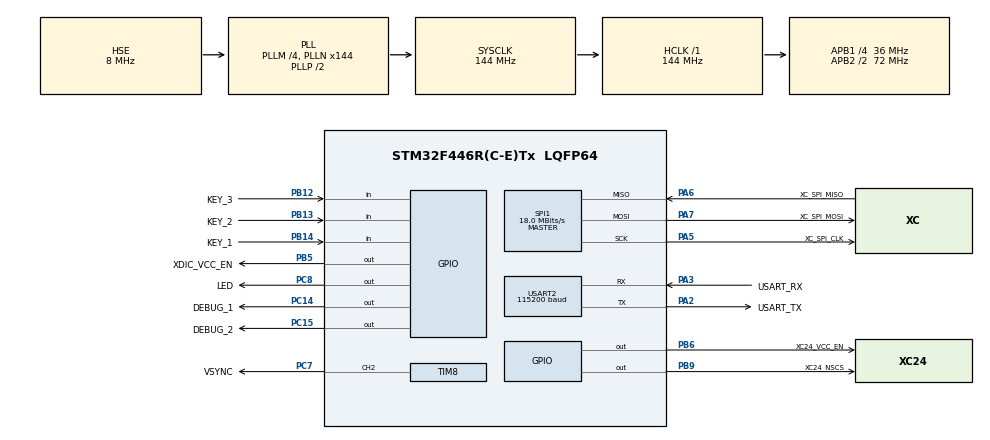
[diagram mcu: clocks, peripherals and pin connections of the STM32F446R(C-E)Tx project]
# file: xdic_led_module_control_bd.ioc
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Dma.Request0=USART2_TX
Dma.Request1=USART2_RX
Dma.USART2_RX.1.Direction=DMA_PERIPH_TO_MEMORY
Dma.USART2_RX.1.FIFOMode=DMA_FIFOMODE_DISABLE
Dma.USART2_RX.1.Instance=DMA1_Stream5
Dma.USART2_RX.1.MemDataAlignment=DMA_MDATAALIGN_BYTE
Dma.USART2_RX.1.MemInc=DMA_MINC_ENABLE
Dma.USART2_RX.1.Mode=DMA_NORMAL
Dma.USART2_RX.1.PeriphDataAlignment=DMA_PDATAALIGN_BYTE
Dma.USART2_RX.1.PeriphInc=DMA_PINC_DISABLE
Dma.USART2_RX.1.Priority=DMA_PRIORITY_LOW
Dma.USART2_TX.0.Direction=DMA_MEMORY_TO_PERIPH
Dma.USART2_TX.0.FIFOMode=DMA_FIFOMODE_DISABLE
Dma.USART2_TX.0.Instance=DMA1_Stream6
Dma.USART2_TX.0.MemDataAlignment=DMA_MDATAALIGN_BYTE
Dma.USART2_TX.0.MemInc=DMA_MINC_ENABLE
Dma.USART2_TX.0.Mode=DMA_NORMAL
Dma.USART2_TX.0.PeriphDataAlignment=DMA_PDATAALIGN_BYTE
Dma.USART2_TX.0.PeriphInc=DMA_PINC_DISABLE
Dma.USART2_TX.0.Priority=DMA_PRIORITY_LOW
Mcu.Family=STM32F4
Mcu.Name=STM32F446R(C-E)Tx
Mcu.Package=LQFP64
NVIC.DMA1_Stream5_IRQn=true\:0\:0\:false\:false\:true\:false\:true\:true
NVIC.DMA1_Stream6_IRQn=true\:0\:0\:false\:false\:true\:false\:true\:true
NVIC.PriorityGroup=NVIC_PRIORITYGROUP_4
NVIC.TIM8_UP_TIM13_IRQn=true\:0\:0\:false\:false\:true\:true\:true\:true
NVIC.USART2_IRQn=true\:1\:0\:true\:false\:true\:true\:true\:true
PA13.GPIO_Label=TMS
PA13.Mode=Serial_Wire
PA13.Signal=SYS_JTMS-SWDIO
PA14.GPIO_Label=TCK
PA14.Mode=Serial_Wire
PA14.Signal=SYS_JTCK-SWCLK
PA2.GPIO_Label=USART_TX
PA2.Mode=Asynchronous
PA2.Signal=USART2_TX
PA3.GPIO_Label=USART_RX
PA3.Mode=Asynchronous
PA3.Signal=USART2_RX
PA5.GPIO_Label=XC_SPI_CLK
PA5.Mode=Full_Duplex_Master
PA5.Signal=SPI1_SCK
PA6.GPIO_Label=XC_SPI_MISO
PA6.Mode=Full_Duplex_Master
PA6.Signal=SPI1_MISO
PA7.GPIO_Label=XC_SPI_MOSI
PA7.Mode=Full_Duplex_Master
PA7.Signal=SPI1_MOSI
PB12.GPIO_Label=KEY_3
PB12.Signal=GPIO_Input
PB13.GPIO_Label=KEY_2
PB13.Signal=GPIO_Input
PB14.GPIO_Label=KEY_1
PB14.Signal=GPIO_Input
PB5.GPIO_Label=XDIC_VCC_EN
PB5.GPIO_Speed=GPIO_SPEED_FREQ_VERY_HIGH
PB5.PinState=GPIO_PIN_SET
PB5.Signal=GPIO_Output
PB6.GPIO_Label=XC24_VCC_EN
PB6.Signal=GPIO_Output
PB9.GPIO_Label=XC24_NSCS
PB9.GPIO_Speed=GPIO_SPEED_FREQ_VERY_HIGH
PB9.Signal=GPIO_Output
PC14-OSC32_IN.GPIO_Label=DEBUG_1
PC14-OSC32_IN.Signal=GPIO_Output
PC15-OSC32_OUT.GPIO_Label=DEBUG_2
PC15-OSC32_OUT.Signal=GPIO_Output
PC7.GPIO_Label=VSYNC
PC7.Signal=S_TIM8_CH2
PC8.GPIO_Label=LED
PC8.PinState=GPIO_PIN_SET
PC8.Signal=GPIO_Output
PH0-OSC_IN.Mode=HSE-External-Oscillator
PH0-OSC_IN.Signal=RCC_OSC_IN
PH1-OSC_OUT.Mode=HSE-External-Oscillator
PH1-OSC_OUT.Signal=RCC_OSC_OUT
ProjectManager.HeapSize=0x200
ProjectManager.StackSize=0x800
ProjectManager.TargetToolchain=EWARM V8.32
RCC.48MHZClocksFreq_Value=84000000
RCC.AHBFreq_Value=144000000
RCC.APB1CLKDivider=RCC_HCLK_DIV4
RCC.APB1Freq_Value=36000000
RCC.APB1TimFreq_Value=72000000
RCC.APB2CLKDivider=RCC_HCLK_DIV2
RCC.APB2Freq_Value=72000000
RCC.APB2TimFreq_Value=144000000
RCC.CortexFreq_Value=144000000
RCC.FLatency-AdvancedSettings=FLASH_LATENCY_4
RCC.HCLKFreq_Value=144000000
RCC.HSE_VALUE=8000000
RCC.HSI_VALUE=16000000
RCC.PLLI2SM=8
RCC.PLLI2SN=400
RCC.PLLI2SR=5
RCC.PLLM=4
RCC.PLLN=144
RCC.PLLSourceVirtual=RCC_PLLSOURCE_HSE
RCC.RCC_MCO1Source=RCC_MCO1SOURCE_PLLCLK
RCC.RCC_MCO2Source=RCC_MCO2SOURCE_PLLI2SCLK
RCC.RCC_MCODiv2=RCC_MCODIV_5
RCC.SYSCLKFreq_VALUE=144000000
RCC.SYSCLKSource=RCC_SYSCLKSOURCE_PLLCLK
RCC.USBFreq_Value=144000000
RCC.VCOOutputFreq_Value=288000000
SH.S_TIM8_CH2.0=TIM8_CH2,PWM Generation2 CH2
SPI1.BaudRatePrescaler=SPI_BAUDRATEPRESCALER_4
SPI1.CLKPhase=SPI_PHASE_2EDGE
SPI1.CalculateBaudRate=18.0 MBits/s
SPI1.DataSize=SPI_DATASIZE_16BIT
SPI1.Direction=SPI_DIRECTION_2LINES
SPI1.Mode=SPI_MODE_MASTER
SPI1.VirtualType=VM_MASTER
TIM12.AutoReloadPreload=TIM_AUTORELOAD_PRELOAD_ENABLE
TIM12.ClockDivision=TIM_CLOCKDIVISION_DIV1
TIM12.Period=65535
TIM12.Prescaler=71
TIM8.AutomaticOutput=TIM_AUTOMATICOUTPUT_ENABLE
TIM8.Channel-PWM\ Generation2\ CH2=TIM_CHANNEL_2
TIM8.Period=39999
TIM8.Prescaler=29
TIM8.Pulse-PWM\ Generation2\ CH2=500
USART2.BaudRate=115200
USART2.VirtualMode=VM_ASYNC
VP_TIM12_VS_ClockSourceINT.Mode=Internal
VP_TIM8_VS_ClockSourceINT.Mode=Internal
board=NUCLEO-F446RE

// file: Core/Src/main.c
/* USER CODE BEGIN Header */
/**
  ******************************************************************************
  * @file           : main.c
  * @brief          : Main program body
  ******************************************************************************
  * @attention
  *
  * <h2><center>&copy; Copyright (c) 2021 STMicroelectronics.
  * All rights reserved.</center></h2>
  *
  * This software component is licensed by ST under Ultimate Liberty license
  * SLA0044, the "License"; You may not use this file except in compliance with
  * the License. You may obtain a copy of the License at:
  *                             www.st.com/SLA0044
  *
  ******************************************************************************
  */
#define __XDIC_MAIN_C__
#include <stdint.h>
/* USER CODE END Header */
#include "main.h"

/* USER CODE BEGIN Includes */
#include "config.h"
#include "xdic.h"
#include "xc24.h"
#include "vsync_task.h"
/* USER CODE END Includes */

/* USER CODE BEGIN PD */
/* "26. 06. 11 - Version Code Update : 0x01 */
/* "26. 07. 07 - Version Code Update : 0x02 @ XD_SINGLE */
/* "26. 07. 07 - Version Code Update : 0x03 @ XD_DUAL */
#define FW_VERSION_CODE     (3U)
#define XD_SINGLE           (1U)
#define XD_DUAL             (2U)

//#define XD_DEFAULT_SIZE     (XD_SINGLE)
#define XD_DEFAULT_SIZE     (XD_DUAL)

#define PRINT_BUFF_SIZE     256U
#define RX_BUFF_SIZE        256U // must be 2^n
#define RX_PACKET_SIZE      32U  // must be 2^n

#define RX_TIMEOUT_MS       20U

#define PACKET_SIZE                     6U   // SOP(1) + LEN(1) + CMD(1) + DATA(1) + CHK(1) + EOP(1)
#define PACKET_SIZE_EXCEPT_DATA_FIELD   5U   // SOP(1) + LEN(1) + CMD(1) + /* DATA(1) */ + CHK(1) + EOP(1)
#define PACKET_SIZE_SOP_TO_COMMAND      3U   // SOP(1) + LEN(1) + CMD(1)

#define INVALID_PACKET  0U
#define VALID_PACKET    1U

#define XC_CHECK_NG     0U
#define XC_CHECK_OK     1U

enum tag_PROTOCOL_LIST
{
    SOP                     = 0xA5U, // 0xA5
    EOP                     = 0x5AU, // 0x5A
    CMD_INIT                = 0x00U, // 0x00
    CMD_QUIT                = 0xFFU, // 0xFF
    CMD_STATUS              = 0xF0U, // 0xF0
    CMD_VERSION             = 0xF1U, // 0xF1
    CMD_BAR_ON_SELECT       = 0x10U, // 0x10
    CMD_BAR_OFF_SELECT      = 0x20U, // 0x20
    CMD_BLK_ON_SELECT       = 0x40U, // 0x40
    CMD_BLK_OFF_SELECT      = 0x80U, // 0x80
    CMD_CURRENT             = 0x01U, // 0x01
    CMD_LOW_CURRENT_MODE    = 0x02U, // 0x02
    CMD_DUTY                = 0x04U, // 0x04
    CMD_MODEL_SELECT        = 0x08U, // 0x08
    CMD_TEST_CH_DEPENDENCY  = 0xA0U, // 0xA0
    CMD_TEST_SCAN_NO        = 0xA1U, // 0xA1
    CMD_TEST_LINE_DELAY     = 0xA2U, // 0xA2
    CMD_XC_CHECK            = 0xFEU, // 0xFE, hidden
} protocol_list_t;

typedef enum tag_KEY_LIST
{
    KEY_1 = 0U,
    KEY_2,
    KEY_3,
    KEY_MAX,
} key_list_t;

/* USER CODE END PD */

/* USER CODE BEGIN PV */
typedef struct tag_RX_PACKET
{
    uint8_t sop;
    uint8_t length;
    uint8_t command;
    uint8_t data[255];
    uint8_t checksum;
    uint8_t eop;
} rx_packet_t;

typedef struct tag_RING_BUFFER
{
    uint8_t head;
    uint8_t tail;
    char buffer[RX_BUFF_SIZE];
} ring_buffer_t;
static ring_buffer_t gt_ring_buffer;

typedef struct tag_RX_PACKET_BUFFER
{
    uint8_t idx;
    rx_packet_t packet_buffer[RX_PACKET_SIZE];
} rx_packet_buffer_t;
static rx_packet_buffer_t gt_rx_packet_buffer;

typedef void (*func_t)(void);

typedef struct tag_KEY_INFO
{
    uint32_t now_state;
    uint32_t prev_state;
    uint8_t press_cnt;
    uint8_t odd_even;
    func_t function[2];
} key_info_t;

//static LOG_LV_T gt_log_lv = LOG_PC;
static LOG_LV_T gt_log_lv = LOG_RS232;

static uint8_t gn_uart_rx_timeout;
static bool gb_uart_rx_timeout_enable;

GPIO_TypeDef* key_gpio_port[KEY_MAX] = { KEY_1_GPIO_Port, KEY_2_GPIO_Port, KEY_3_GPIO_Port };
const uint32_t key_gpio_pin[KEY_MAX] = { KEY_1_Pin,       KEY_2_Pin,       KEY_3_Pin       };
static key_info_t gt_key_info[KEY_MAX];
static uint8_t gn_key_task_tick;
/* USER CODE END PV */

void SystemClock_Config(void);
static void MX_GPIO_Init(void);
static void MX_DMA_Init(void);
static void MX_USART2_UART_Init(void);
static void MX_TIM12_Init(void);
static void MX_SPI1_Init(void);
static void MX_TIM8_Init(void);
/* USER CODE BEGIN PFP */
static void Uart_Task(void);
static void Key_Task(void);
static void Key_Init(void);
/* USER CODE END PFP */

/* USER CODE BEGIN 0 */

void us_delay(uint16_t us_delay)
{
    LL_TIM_EnableCounter(TIM12);
    while(LL_TIM_GetCounter(TIM12) < us_delay)
    {
    }
    LL_TIM_DisableCounter(TIM12);
    LL_TIM_SetCounter(TIM12, 0U);
}

void sys_tick_handler(void)
{
    if (gn_xc_spi_timeout)
    {
        --gn_xc_spi_timeout;
    }
    if (gn_uart_rx_timeout)
    {
        --gn_uart_rx_timeout;
    }
    if (gn_key_task_tick)
    {
        --gn_key_task_tick;
    }
}

void print(LOG_LV_T log_lv, const char *fmt, ...)
{
    if (log_lv >= gt_log_lv)
    {
        int len = 0;
        char msg_buffer[PRINT_BUFF_SIZE] = { 0 };

        if (log_lv > gt_log_lv)
        {
            char temp_buffer[PRINT_BUFF_SIZE] = { 0 };
            snprintf(temp_buffer, PRINT_BUFF_SIZE - 1U, "%s%s%s", ANSI_FONT_RED, fmt, ANSI_FONT_NONE);
            fmt = temp_buffer;
        }

        va_list ap;
        va_start(ap, fmt);
        len = vsnprintf(msg_buffer, (PRINT_BUFF_SIZE - 1U), fmt, ap);
        va_end(ap);

        for (int i = 0 ; i < len ; ++i)
        {
            /* Loop until the end of transmission */
            while (RESET == LL_USART_IsActiveFlag_TXE(USART2));
            /* Echo received character on TX */
            LL_USART_TransmitData8(USART2, (uint8_t)msg_buffer[i]);
        }
    }
}

void Comm_Init(void)
{
    print(LOG_PC, "\n\r--------------------------------------");
    print(LOG_PC, "\n\r   [GT LED Module Control BD]");
    print(LOG_PC, "\n\r--------------------------------------");
    print(LOG_PC, "\n\r - Author: xxx@glbltech.com");
    print(LOG_PC, "\n\r - Build : %s", __DATE__);
    print(LOG_PC, "\n\r--------------------------------------\r\n");
}

__STATIC_INLINE void UART_PutChar(uint8_t data)
{
    /* Echo received character on TX */
    LL_USART_TransmitData8(USART2, (uint8_t)data);
    /* Loop until the end of transmission */
    while (RESET == LL_USART_IsActiveFlag_TXE(USART2));
}

uint8_t comm_rx_calc_checksum(uint8_t* p_data, uint8_t length)
{
    uint8_t checksum = 0U;
    for (uint8_t i = 0U ; i < length ; ++i)
    {
        checksum += *(p_data + i);
    }
    return checksum;
}

void comm_rx_push(uint8_t rx)
{
    gt_ring_buffer.buffer[gt_ring_buffer.head++] = rx;
    gt_ring_buffer.head &= (RX_BUFF_SIZE - 1U);
}

uint8_t comm_rx_pop(void)
{
    uint8_t ret = gt_ring_buffer.buffer[gt_ring_buffer.tail++];
    gt_ring_buffer.tail &= (RX_BUFF_SIZE - 1U);
    return ret;
}

bool comm_is_valid_command(uint8_t in_cmd)
{
    bool ret = false;
    switch (in_cmd)
    {
        case CMD_INIT:
        case CMD_QUIT:
        case CMD_STATUS:
        case CMD_VERSION:
        case CMD_CURRENT:
        case CMD_BAR_ON_SELECT:
        case CMD_BAR_OFF_SELECT:
        case CMD_BLK_ON_SELECT:
        case CMD_BLK_OFF_SELECT:
        case CMD_LOW_CURRENT_MODE:
        case CMD_DUTY:
        case CMD_MODEL_SELECT:
        case CMD_TEST_CH_DEPENDENCY:
        case CMD_TEST_SCAN_NO:
        case CMD_TEST_LINE_DELAY:
        case CMD_XC_CHECK:
            ret = true;
            break;
        default:
            ret = false;
            break;
    }
    return ret;
}

static uint8_t comm_get_rx_available(void)
{
    if (gt_ring_buffer.head > gt_ring_buffer.tail)
    {
        return gt_ring_buffer.head - gt_ring_buffer.tail;
    }
    else
    {
        return (gt_ring_buffer.head + RX_BUFF_SIZE) - gt_ring_buffer.tail;
    }
}

static void comm_tx_response_version(void)
{
    uint8_t response[PACKET_SIZE] = { SOP, 0x01U, CMD_VERSION, FW_VERSION_CODE, 0x00U, 0x5AU };
    response[4] = response[0] + response[1] + response[2] + response[3];

    for (uint8_t i = 0U ; i < PACKET_SIZE ; ++i)
    {
        UART_PutChar(response[i]);
    }
}

static void comm_tx_response(uint8_t status)
{
    uint8_t response_ok[PACKET_SIZE] = { SOP, 0x01U, CMD_STATUS, 0xA5U, 0x00U, 0x5AU };
    uint8_t response_ng[PACKET_SIZE] = { SOP, 0x01U, CMD_STATUS, 0x5AU, 0x00U, 0x5AU };

    response_ok[4] = response_ok[0] + response_ok[1] + response_ok[2] + response_ok[3];
    response_ng[4] = response_ng[0] + response_ng[1] + response_ng[2] + response_ng[3];

    if (status)
    {
        for (uint8_t i = 0U ; i < PACKET_SIZE ; ++i)
        {
            UART_PutChar(response_ok[i]);
        }
    }
    else
    {
        for (uint8_t i = 0U ; i < PACKET_SIZE ; ++i)
        {
            UART_PutChar(response_ng[i]);
        }
    }
}

static void comm_tx_xc_check(uint8_t status)
{
    uint8_t check_ok[PACKET_SIZE] = { SOP, 0x01U, CMD_XC_CHECK, 0xA5U, 0x00U, 0x5AU };
    uint8_t check_ng[PACKET_SIZE] = { SOP, 0x01U, CMD_XC_CHECK, 0x5AU, 0x00U, 0x5AU };

    check_ok[4] = check_ok[0] + check_ok[1] + check_ok[2] + check_ok[3];
    check_ng[4] = check_ng[0] + check_ng[1] + check_ng[2] + check_ng[3];

    if (status)
    {
        for (uint8_t i = 0U ; i < PACKET_SIZE ; ++i)
        {
            UART_PutChar(check_ok[i]);
        }
    }
    else
    {
        for (uint8_t i = 0U ; i < PACKET_SIZE ; ++i)
        {
            UART_PutChar(check_ng[i]);
        }
    }
}

static uint8_t comm_get_rx_packet(rx_packet_t* p_packet)
{
    uint8_t ret = INVALID_PACKET;
    rx_packet_t temp_packet = { 0 };

    if (gt_ring_buffer.head != gt_ring_buffer.tail)
    {
        if (gt_ring_buffer.buffer[gt_ring_buffer.tail] != SOP)
        {
            ++gt_ring_buffer.tail;
            gt_ring_buffer.tail &= (RX_BUFF_SIZE - 1U);
            ret = INVALID_PACKET;
        }
        else // If SOP
        {
            if (!gb_uart_rx_timeout_enable)
            {
                gn_uart_rx_timeout = RX_TIMEOUT_MS;
                gb_uart_rx_timeout_enable = true;
            }
            uint8_t length = gt_ring_buffer.buffer[(gt_ring_buffer.tail + 1U) & (RX_BUFF_SIZE - 1U)];
            if (length < 1U) length = 1U; // Minimum data field length

            if (comm_get_rx_available() >= (PACKET_SIZE_EXCEPT_DATA_FIELD + length))
            {
                temp_packet.sop = comm_rx_pop();
                temp_packet.length = comm_rx_pop();
                temp_packet.command = comm_rx_pop();
                for (uint8_t i = 0U ; i < length ; ++i)
                {
                    temp_packet.data[i] = comm_rx_pop();
                }
                temp_packet.checksum = comm_rx_pop();
                temp_packet.eop = comm_rx_pop();

                uint8_t checksum = comm_rx_calc_checksum(&temp_packet.sop, (PACKET_SIZE_SOP_TO_COMMAND + temp_packet.length));
                if ((checksum == temp_packet.checksum) && (temp_packet.eop == EOP) && comm_is_valid_command(temp_packet.command))
                {
                    p_packet->sop = temp_packet.sop;
                    p_packet->length = temp_packet.length;
                    p_packet->command = temp_packet.command;
                    for (uint8_t i = 0U ; i < length ; ++i)
                    {
                        p_packet->data[i] = temp_packet.data[i];
                    }
                    p_packet->checksum = temp_packet.checksum;
                    p_packet->eop = temp_packet.eop;

                    if (temp_packet.command == CMD_VERSION)
                    {
                        comm_tx_response_version();
                    }
                    else
                    {
                        comm_tx_response(VALID_PACKET);
                    }
                    print(LOG_PC, "Recv Packet: {[0x%02X, 0x%02X, 0x%02X, \
                        0x%02X, 0x%02X, 0x%02X, 0x%02X, 0x%02X, \
                        0x%02X, 0x%02X]}\r\n",
                        temp_packet.sop, temp_packet.length, temp_packet.command, \
                        temp_packet.data[0], temp_packet.data[1], temp_packet.data[2], temp_packet.data[3], temp_packet.data[4], \
                        temp_packet.checksum, temp_packet.eop);
                    ret = VALID_PACKET;
                }
                else
                {
                    comm_tx_response(INVALID_PACKET);
                    print(LOG_PC, "Recv Packet: {[0x%02X, 0x%02X, 0x%02X, \
                        0x%02X, 0x%02X, 0x%02X, 0x%02X, 0x%02X, \
                        0x%02X, 0x%02X]}\r\n",
                        temp_packet.sop, temp_packet.length, temp_packet.command, \
                        temp_packet.data[0], temp_packet.data[1], temp_packet.data[2], temp_packet.data[3], temp_packet.data[4], \
                        temp_packet.checksum, temp_packet.eop);
                }
                gb_uart_rx_timeout_enable = false;
            }

            if (0U == gn_uart_rx_timeout) // Timeout
            {
                comm_tx_response(INVALID_PACKET);
                gt_ring_buffer.tail = gt_ring_buffer.head;
                gb_uart_rx_timeout_enable = false;
                ret = INVALID_PACKET;
            }
        }
    }

    return ret;
}

static void Uart_Task(void)
{
    rx_packet_t* p_packet = gt_rx_packet_buffer.packet_buffer + gt_rx_packet_buffer.idx;

    if (comm_get_rx_packet(p_packet))
    {
        switch(p_packet->command)
        {
            case CMD_INIT:
            {
                LED_System_Init();
                print(LOG_PC, "CMD_INIT\r\n");
                break;
            }
            case CMD_QUIT:
            {
                LED_System_DeInit();
                print(LOG_PC, "CMD_QUIT\r\n");
                break;
            }
            case CMD_STATUS:
            {
                print(LOG_PC, "CMD_STATUS\r\n");
                break;
            }
            case CMD_VERSION:
            {
                print(LOG_PC, "CMD_VERSION\r\n");
                break;
            }
            case CMD_CURRENT:
            {
                LED_Current_Select((float)(p_packet->data[0]));
                print(LOG_PC, "CMD_CURRENT: %d\r\n", p_packet->data[0]);
                break;
            }
            case CMD_BAR_ON_SELECT:
            {
                for (uint8_t i = 0U ; i < p_packet->length ; ++i)
                {
                    LED_BAR_On_Select(p_packet->data[i]);
                }
                print(LOG_PC, "CMD_BAR_ON_SELECT: %u\r\n", p_packet->data[0]);
                break;
            }
            case CMD_BAR_OFF_SELECT:
            {
                for (uint8_t i = 0U ; i < p_packet->length ; ++i)
                {
                    LED_BAR_Off_Select(p_packet->data[i]);
                }
                print(LOG_PC, "CMD_BAR_OFF_SELECT: %u\r\n", p_packet->data[0]);
                break;
            }
            case CMD_BLK_ON_SELECT:
            {
                for (uint8_t i = 0U ; i < p_packet->length ; ++i)
                {
                    LED_BLK_On_Select(p_packet->data[i]);
                }
                print(LOG_PC, "CMD_BLK_ON_SELECT: %u\r\n", p_packet->data[0]);
                break;
            }
            case CMD_BLK_OFF_SELECT:
            {
                for (uint8_t i = 0U ; i < p_packet->length ; ++i)
                {
                    LED_BLK_Off_Select(p_packet->data[i]);
                }
                print(LOG_PC, "CMD_BLK_OFF_SELECT: %u\r\n", p_packet->data[0]);
                break;
            }
            case CMD_LOW_CURRENT_MODE:
            {
                LED_Low_Current_Mode(p_packet->data[0]);
                print(LOG_PC, "CMD_LOW_CURRENT_MODE: %u\r\n", p_packet->data[0]);
                break;
            }
            case CMD_DUTY:
            {
                LED_Duty_Select((float)p_packet->data[0]);
                print(LOG_PC, "CMD_DUTY: %u\r\n", p_packet->data[0]);
                break;
            }
            case CMD_MODEL_SELECT:
            {
                XDIC_Set_Daisy_Chain_Size(p_packet->data[0]);
                print(LOG_PC, "CMD_MODEL_SELECT: %u\r\n", p_packet->data[0]);
                break;
            }
            case CMD_TEST_CH_DEPENDENCY:
            {
                XDIC_Test_CH_Dependency();
                print(LOG_PC, "CMD_TEST_CH_DEPENDENCY\r\n");
                break;
            }
            case CMD_TEST_SCAN_NO:
            {
                LED_System_Init();
                LED_BAR_On_Select(0U);
                LED_Enable_Scan_No_Test(p_packet->data[0]);
                print(LOG_PC, "CMD_TEST_SCAN_NO.\r\n");
                break;
            }
            case CMD_TEST_LINE_DELAY:
            {
                LED_System_Init();
                LED_BAR_On_Select(0U);
                LED_Enable_Line_Delay_Test(p_packet->data[0]);
                print(LOG_PC, "CMD_TEST_LINE_DELAY\r\n");
                break;
            }
            case CMD_XC_CHECK:
            {
                bool xc_init_done = XC24_Is_Init_Done();
                comm_tx_xc_check(xc_init_done);
                print(LOG_PC, "CMD_XC_CHECK\r\n");
                break;
            }

        }
        ++gt_rx_packet_buffer.idx;
        gt_rx_packet_buffer.idx &= (RX_PACKET_SIZE - 1U);
    }
}

static void Key_Init(void)
{
    for (key_list_t key_list = KEY_1 ; key_list < KEY_MAX ; ++key_list)
    {
        gt_key_info[key_list].now_state = LL_GPIO_IsInputPinSet(key_gpio_port[key_list], key_gpio_pin[key_list]);
        gt_key_info[key_list].prev_state = gt_key_info[key_list].now_state;
        gt_key_info[key_list].press_cnt = 0U;
        gt_key_info[key_list].odd_even = 0U;
    }

    gt_key_info[KEY_1].function[0] = LED_System_Manual_Init;
    gt_key_info[KEY_1].function[1] = LED_System_DeInit;

    gt_key_info[KEY_2].function[0] = XC24_Test_Init;
    gt_key_info[KEY_2].function[1] = LED_System_DeInit;

    gt_key_info[KEY_3].function[0] = LED_Current_Increase;
    gt_key_info[KEY_3].function[1] = LED_Current_Increase;
}

static void Key_Task(void)
{
    if (gn_key_task_tick == 0U)
    {
        for (key_list_t key_list = KEY_1 ; key_list < KEY_MAX ; ++key_list)
        {
            gt_key_info[key_list].now_state = LL_GPIO_IsInputPinSet(key_gpio_port[key_list], key_gpio_pin[key_list]);

            if (gt_key_info[key_list].now_state != gt_key_info[key_list].prev_state)
            {
                if (gt_key_info[key_list].now_state == 0U)
                {
                    print(LOG_PC, "KEY_%u Pressed !!\r\n", key_list + 1U);
                }
                else
                {
                    print(LOG_PC, "KEY_%u Released !!\r\n", key_list + 1U);
                    if (gt_key_info[key_list].press_cnt >= 10U) // 100ms at least
                    {
                        print(LOG_PC, "KEY_%u Action !!\r\n", key_list + 1U);
                        if (gt_key_info[key_list].function[gt_key_info[key_list].odd_even] != NULL)
                        {
                            gt_key_info[key_list].function[gt_key_info[key_list].odd_even]();
                        }
                        gt_key_info[key_list].odd_even ^= 1U;
                    }
                    gt_key_info[key_list].press_cnt = 0U;
                }
                gt_key_info[key_list].prev_state = gt_key_info[key_list].now_state;
            }
            else
            {
                if (gt_key_info[key_list].now_state == 0U)
                {
                    ++gt_key_info[key_list].press_cnt;
                }
                else
                {
                    // Do nothing
                }
            }
        }
        gn_key_task_tick = 10U; // 10ms
    }
}
/* USER CODE END 0 */

int main(void)
{

  /* MCU Configuration--------------------------------------------------------*/

  /* Reset of all peripherals, Initializes the Flash interface and the Systick. */
  HAL_Init();

  /* Configure the system clock */
  SystemClock_Config();

  /* Initialize all configured peripherals */
  MX_GPIO_Init();
  MX_DMA_Init();
  MX_USART2_UART_Init();
  MX_TIM12_Init();
  MX_SPI1_Init();
  MX_TIM8_Init();
  /* USER CODE BEGIN 2 */

    Key_Init();
    Comm_Init();
    for (uint8_t i = 0U ; i < 3U ; ++i)
    {
        LED_LO();
        LL_mDelay(250U);
        LED_HI();
        LL_mDelay(250U);
    }
    LED_LO();

    XDIC_Set_Daisy_Chain_Size(XD_DEFAULT_SIZE);

  /* USER CODE END 2 */

  /* Infinite loop */
  while (1)
  {

    /* USER CODE BEGIN 3 */
    Uart_Task();
    Key_Task();
    Vsync_Task();
  }
  /* USER CODE END 3 */
}

void SystemClock_Config(void)
{
  RCC_OscInitTypeDef RCC_OscInitStruct = {0};
  RCC_ClkInitTypeDef RCC_ClkInitStruct = {0};

  /** Configure the main internal regulator output voltage
  */
  __HAL_RCC_PWR_CLK_ENABLE();
  __HAL_PWR_VOLTAGESCALING_CONFIG(PWR_REGULATOR_VOLTAGE_SCALE1);

  /** Initializes the RCC Oscillators according to the specified parameters
  * in the RCC_OscInitTypeDef structure.
  */
  RCC_OscInitStruct.OscillatorType = RCC_OSCILLATORTYPE_HSE;
  RCC_OscInitStruct.HSEState = RCC_HSE_ON;
  RCC_OscInitStruct.PLL.PLLState = RCC_PLL_ON;
  RCC_OscInitStruct.PLL.PLLSource = RCC_PLLSOURCE_HSE;
  RCC_OscInitStruct.PLL.PLLM = 4;
  RCC_OscInitStruct.PLL.PLLN = 144;
  RCC_OscInitStruct.PLL.PLLP = RCC_PLLP_DIV2;
  RCC_OscInitStruct.PLL.PLLQ = 2;
  RCC_OscInitStruct.PLL.PLLR = 2;
  if (HAL_RCC_OscConfig(&RCC_OscInitStruct) != HAL_OK)
  {
    Error_Handler();
  }

  /** Initializes the CPU, AHB and APB buses clocks
  */
  RCC_ClkInitStruct.ClockType = RCC_CLOCKTYPE_HCLK|RCC_CLOCKTYPE_SYSCLK
                              |RCC_CLOCKTYPE_PCLK1|RCC_CLOCKTYPE_PCLK2;
  RCC_ClkInitStruct.SYSCLKSource = RCC_SYSCLKSOURCE_PLLCLK;
  RCC_ClkInitStruct.AHBCLKDivider = RCC_SYSCLK_DIV1;
  RCC_ClkInitStruct.APB1CLKDivider = RCC_HCLK_DIV4;
  RCC_ClkInitStruct.APB2CLKDivider = RCC_HCLK_DIV2;

  if (HAL_RCC_ClockConfig(&RCC_ClkInitStruct, FLASH_LATENCY_4) != HAL_OK)
  {
    Error_Handler();
  }
}

static void MX_SPI1_Init(void)
{

  LL_SPI_InitTypeDef SPI_InitStruct = {0};

  LL_GPIO_InitTypeDef GPIO_InitStruct = {0};

  /* Peripheral clock enable */
  LL_APB2_GRP1_EnableClock(LL_APB2_GRP1_PERIPH_SPI1);

  LL_AHB1_GRP1_EnableClock(LL_AHB1_GRP1_PERIPH_GPIOA);
  /**SPI1 GPIO Configuration
  PA5   ------> SPI1_SCK
  PA6   ------> SPI1_MISO
  PA7   ------> SPI1_MOSI
  */
  GPIO_InitStruct.Pin = XC_SPI_CLK_Pin|XC_SPI_MISO_Pin|XC_SPI_MOSI_Pin;
  GPIO_InitStruct.Mode = LL_GPIO_MODE_ALTERNATE;
  GPIO_InitStruct.Speed = LL_GPIO_SPEED_FREQ_VERY_HIGH;
  GPIO_InitStruct.OutputType = LL_GPIO_OUTPUT_PUSHPULL;
  GPIO_InitStruct.Pull = LL_GPIO_PULL_NO;
  GPIO_InitStruct.Alternate = LL_GPIO_AF_5;
  LL_GPIO_Init(GPIOA, &GPIO_InitStruct);

  /* SPI1 parameter configuration*/
  SPI_InitStruct.TransferDirection = LL_SPI_FULL_DUPLEX;
  SPI_InitStruct.Mode = LL_SPI_MODE_MASTER;
  SPI_InitStruct.DataWidth = LL_SPI_DATAWIDTH_16BIT;
  SPI_InitStruct.ClockPolarity = LL_SPI_POLARITY_LOW;
  SPI_InitStruct.ClockPhase = LL_SPI_PHASE_2EDGE;
  SPI_InitStruct.NSS = LL_SPI_NSS_SOFT;
  SPI_InitStruct.BaudRate = LL_SPI_BAUDRATEPRESCALER_DIV4;
  SPI_InitStruct.BitOrder = LL_SPI_MSB_FIRST;
  SPI_InitStruct.CRCCalculation = LL_SPI_CRCCALCULATION_DISABLE;
  SPI_InitStruct.CRCPoly = 10;
  LL_SPI_Init(SPI1, &SPI_InitStruct);
  LL_SPI_SetStandard(SPI1, LL_SPI_PROTOCOL_MOTOROLA);
  /* USER CODE BEGIN SPI1_Init 2 */

    //LL_SPI_Enable(SPI1);

  /* USER CODE END SPI1_Init 2 */

}

static void MX_TIM8_Init(void)
{

  LL_TIM_InitTypeDef TIM_InitStruct = {0};
  LL_TIM_OC_InitTypeDef TIM_OC_InitStruct = {0};
  LL_TIM_BDTR_InitTypeDef TIM_BDTRInitStruct = {0};

  LL_GPIO_InitTypeDef GPIO_InitStruct = {0};

  /* Peripheral clock enable */
  LL_APB2_GRP1_EnableClock(LL_APB2_GRP1_PERIPH_TIM8);

  /* TIM8 interrupt Init */
  NVIC_SetPriority(TIM8_UP_TIM13_IRQn, NVIC_EncodePriority(NVIC_GetPriorityGrouping(),0, 0));
  NVIC_EnableIRQ(TIM8_UP_TIM13_IRQn);

  TIM_InitStruct.Prescaler = 29;
  TIM_InitStruct.CounterMode = LL_TIM_COUNTERMODE_UP;
  TIM_InitStruct.Autoreload = 39999;
  TIM_InitStruct.ClockDivision = LL_TIM_CLOCKDIVISION_DIV1;
  TIM_InitStruct.RepetitionCounter = 0;
  LL_TIM_Init(TIM8, &TIM_InitStruct);
  LL_TIM_DisableARRPreload(TIM8);
  LL_TIM_SetClockSource(TIM8, LL_TIM_CLOCKSOURCE_INTERNAL);
  LL_TIM_OC_EnablePreload(TIM8, LL_TIM_CHANNEL_CH2);
  TIM_OC_InitStruct.OCMode = LL_TIM_OCMODE_PWM1;
  TIM_OC_InitStruct.OCState = LL_TIM_OCSTATE_DISABLE;
  TIM_OC_InitStruct.OCNState = LL_TIM_OCSTATE_DISABLE;
  TIM_OC_InitStruct.CompareValue = 500;
  TIM_OC_InitStruct.OCPolarity = LL_TIM_OCPOLARITY_HIGH;
  TIM_OC_InitStruct.OCNPolarity = LL_TIM_OCPOLARITY_HIGH;
  TIM_OC_InitStruct.OCIdleState = LL_TIM_OCIDLESTATE_LOW;
  TIM_OC_InitStruct.OCNIdleState = LL_TIM_OCIDLESTATE_LOW;
  LL_TIM_OC_Init(TIM8, LL_TIM_CHANNEL_CH2, &TIM_OC_InitStruct);
  LL_TIM_OC_DisableFast(TIM8, LL_TIM_CHANNEL_CH2);
  LL_TIM_SetTriggerOutput(TIM8, LL_TIM_TRGO_RESET);
  LL_TIM_DisableMasterSlaveMode(TIM8);
  TIM_BDTRInitStruct.OSSRState = LL_TIM_OSSR_DISABLE;
  TIM_BDTRInitStruct.OSSIState = LL_TIM_OSSI_DISABLE;
  TIM_BDTRInitStruct.LockLevel = LL_TIM_LOCKLEVEL_OFF;
  TIM_BDTRInitStruct.DeadTime = 0;
  TIM_BDTRInitStruct.BreakState = LL_TIM_BREAK_DISABLE;
  TIM_BDTRInitStruct.BreakPolarity = LL_TIM_BREAK_POLARITY_HIGH;
  TIM_BDTRInitStruct.AutomaticOutput = LL_TIM_AUTOMATICOUTPUT_ENABLE;
  LL_TIM_BDTR_Init(TIM8, &TIM_BDTRInitStruct);
  LL_AHB1_GRP1_EnableClock(LL_AHB1_GRP1_PERIPH_GPIOC);
  /**TIM8 GPIO Configuration
  PC7   ------> TIM8_CH2
  */
  GPIO_InitStruct.Pin = VSYNC_Pin;
  GPIO_InitStruct.Mode = LL_GPIO_MODE_ALTERNATE;
  GPIO_InitStruct.Speed = LL_GPIO_SPEED_FREQ_LOW;
  GPIO_InitStruct.OutputType = LL_GPIO_OUTPUT_PUSHPULL;
  GPIO_InitStruct.Pull = LL_GPIO_PULL_NO;
  GPIO_InitStruct.Alternate = LL_GPIO_AF_3;
  LL_GPIO_Init(VSYNC_GPIO_Port, &GPIO_InitStruct);

}

static void MX_TIM12_Init(void)
{

  LL_TIM_InitTypeDef TIM_InitStruct = {0};

  /* Peripheral clock enable */
  LL_APB1_GRP1_EnableClock(LL_APB1_GRP1_PERIPH_TIM12);

  TIM_InitStruct.Prescaler = 71;
  TIM_InitStruct.CounterMode = LL_TIM_COUNTERMODE_UP;
  TIM_InitStruct.Autoreload = 65535;
  TIM_InitStruct.ClockDivision = LL_TIM_CLOCKDIVISION_DIV1;
  LL_TIM_Init(TIM12, &TIM_InitStruct);
  LL_TIM_EnableARRPreload(TIM12);
  LL_TIM_SetClockSource(TIM12, LL_TIM_CLOCKSOURCE_INTERNAL);

}

static void MX_USART2_UART_Init(void)
{

  LL_USART_InitTypeDef USART_InitStruct = {0};

  LL_GPIO_InitTypeDef GPIO_InitStruct = {0};

  /* Peripheral clock enable */
  LL_APB1_GRP1_EnableClock(LL_APB1_GRP1_PERIPH_USART2);

  LL_AHB1_GRP1_EnableClock(LL_AHB1_GRP1_PERIPH_GPIOA);
  /**USART2 GPIO Configuration
  PA2   ------> USART2_TX
  PA3   ------> USART2_RX
  */
  GPIO_InitStruct.Pin = USART_TX_Pin|USART_RX_Pin;
  GPIO_InitStruct.Mode = LL_GPIO_MODE_ALTERNATE;
  GPIO_InitStruct.Speed = LL_GPIO_SPEED_FREQ_VERY_HIGH;
  GPIO_InitStruct.OutputType = LL_GPIO_OUTPUT_PUSHPULL;
  GPIO_InitStruct.Pull = LL_GPIO_PULL_NO;
  GPIO_InitStruct.Alternate = LL_GPIO_AF_7;
  LL_GPIO_Init(GPIOA, &GPIO_InitStruct);

  /* USART2 DMA Init */

  /* USART2_TX Init */
  LL_DMA_SetChannelSelection(DMA1, LL_DMA_STREAM_6, LL_DMA_CHANNEL_4);

  LL_DMA_SetDataTransferDirection(DMA1, LL_DMA_STREAM_6, LL_DMA_DIRECTION_MEMORY_TO_PERIPH);

  LL_DMA_SetStreamPriorityLevel(DMA1, LL_DMA_STREAM_6, LL_DMA_PRIORITY_LOW);

  LL_DMA_SetMode(DMA1, LL_DMA_STREAM_6, LL_DMA_MODE_NORMAL);

  LL_DMA_SetPeriphIncMode(DMA1, LL_DMA_STREAM_6, LL_DMA_PERIPH_NOINCREMENT);

  LL_DMA_SetMemoryIncMode(DMA1, LL_DMA_STREAM_6, LL_DMA_MEMORY_INCREMENT);

  LL_DMA_SetPeriphSize(DMA1, LL_DMA_STREAM_6, LL_DMA_PDATAALIGN_BYTE);

  LL_DMA_SetMemorySize(DMA1, LL_DMA_STREAM_6, LL_DMA_MDATAALIGN_BYTE);

  LL_DMA_DisableFifoMode(DMA1, LL_DMA_STREAM_6);

  /* USART2_RX Init */
  LL_DMA_SetChannelSelection(DMA1, LL_DMA_STREAM_5, LL_DMA_CHANNEL_4);

  LL_DMA_SetDataTransferDirection(DMA1, LL_DMA_STREAM_5, LL_DMA_DIRECTION_PERIPH_TO_MEMORY);

  LL_DMA_SetStreamPriorityLevel(DMA1, LL_DMA_STREAM_5, LL_DMA_PRIORITY_LOW);

  LL_DMA_SetMode(DMA1, LL_DMA_STREAM_5, LL_DMA_MODE_NORMAL);

  LL_DMA_SetPeriphIncMode(DMA1, LL_DMA_STREAM_5, LL_DMA_PERIPH_NOINCREMENT);

  LL_DMA_SetMemoryIncMode(DMA1, LL_DMA_STREAM_5, LL_DMA_MEMORY_INCREMENT);

  LL_DMA_SetPeriphSize(DMA1, LL_DMA_STREAM_5, LL_DMA_PDATAALIGN_BYTE);

  LL_DMA_SetMemorySize(DMA1, LL_DMA_STREAM_5, LL_DMA_MDATAALIGN_BYTE);

  LL_DMA_DisableFifoMode(DMA1, LL_DMA_STREAM_5);

  /* USART2 interrupt Init */
  NVIC_SetPriority(USART2_IRQn, NVIC_EncodePriority(NVIC_GetPriorityGrouping(),1, 0));
  NVIC_EnableIRQ(USART2_IRQn);

  USART_InitStruct.BaudRate = 115200;
  USART_InitStruct.DataWidth = LL_USART_DATAWIDTH_8B;
  USART_InitStruct.StopBits = LL_USART_STOPBITS_1;
  USART_InitStruct.Parity = LL_USART_PARITY_NONE;
  USART_InitStruct.TransferDirection = LL_USART_DIRECTION_TX_RX;
  USART_InitStruct.HardwareFlowControl = LL_USART_HWCONTROL_NONE;
  USART_InitStruct.OverSampling = LL_USART_OVERSAMPLING_16;
  LL_USART_Init(USART2, &USART_InitStruct);
  LL_USART_ConfigAsyncMode(USART2);
  LL_USART_Enable(USART2);
  /* USER CODE BEGIN USART2_Init 2 */

    /* USART RX */
    LL_USART_EnableIT_RXNE(USART2);
    LL_USART_EnableIT_ERROR(USART2);

  /* USER CODE END USART2_Init 2 */

}

static void MX_DMA_Init(void)
{

  /* Init with LL driver */
  /* DMA controller clock enable */
  LL_AHB1_GRP1_EnableClock(LL_AHB1_GRP1_PERIPH_DMA1);

  /* DMA interrupt init */
  /* DMA1_Stream5_IRQn interrupt configuration */
  NVIC_SetPriority(DMA1_Stream5_IRQn, NVIC_EncodePriority(NVIC_GetPriorityGrouping(),0, 0));
  NVIC_EnableIRQ(DMA1_Stream5_IRQn);
  /* DMA1_Stream6_IRQn interrupt configuration */
  NVIC_SetPriority(DMA1_Stream6_IRQn, NVIC_EncodePriority(NVIC_GetPriorityGrouping(),0, 0));
  NVIC_EnableIRQ(DMA1_Stream6_IRQn);

}

static void MX_GPIO_Init(void)
{
  LL_GPIO_InitTypeDef GPIO_InitStruct = {0};

  /* GPIO Ports Clock Enable */
  LL_AHB1_GRP1_EnableClock(LL_AHB1_GRP1_PERIPH_GPIOC);
  LL_AHB1_GRP1_EnableClock(LL_AHB1_GRP1_PERIPH_GPIOH);
  LL_AHB1_GRP1_EnableClock(LL_AHB1_GRP1_PERIPH_GPIOA);
  LL_AHB1_GRP1_EnableClock(LL_AHB1_GRP1_PERIPH_GPIOB);
  LL_AHB1_GRP1_EnableClock(LL_AHB1_GRP1_PERIPH_GPIOD);

  /**/
  LL_GPIO_ResetOutputPin(GPIOC, DEBUG_1_Pin|DEBUG_2_Pin|DEBUG_Pin);

  /**/
  LL_GPIO_ResetOutputPin(GPIOB, XC24_VCC_EN_Pin|XC24_NSCS_Pin);

  /**/
  LL_GPIO_SetOutputPin(LED_GPIO_Port, LED_Pin);

  /**/
  LL_GPIO_SetOutputPin(XDIC_VCC_EN_GPIO_Port, XDIC_VCC_EN_Pin);

  /**/
  GPIO_InitStruct.Pin = LL_GPIO_PIN_13|LL_GPIO_PIN_1|LL_GPIO_PIN_2|LL_GPIO_PIN_3
                          |LL_GPIO_PIN_4|LL_GPIO_PIN_5|LL_GPIO_PIN_6|LL_GPIO_PIN_9
                          |LL_GPIO_PIN_10|LL_GPIO_PIN_11|LL_GPIO_PIN_12;
  GPIO_InitStruct.Mode = LL_GPIO_MODE_ANALOG;
  GPIO_InitStruct.Pull = LL_GPIO_PULL_NO;
  LL_GPIO_Init(GPIOC, &GPIO_InitStruct);

  /**/
  GPIO_InitStruct.Pin = DEBUG_1_Pin|DEBUG_2_Pin|DEBUG_Pin|LED_Pin;
  GPIO_InitStruct.Mode = LL_GPIO_MODE_OUTPUT;
  GPIO_InitStruct.Speed = LL_GPIO_SPEED_FREQ_LOW;
  GPIO_InitStruct.OutputType = LL_GPIO_OUTPUT_PUSHPULL;
  GPIO_InitStruct.Pull = LL_GPIO_PULL_NO;
  LL_GPIO_Init(GPIOC, &GPIO_InitStruct);

  /**/
  GPIO_InitStruct.Pin = LL_GPIO_PIN_0|LL_GPIO_PIN_1|LL_GPIO_PIN_4|LL_GPIO_PIN_8
                          |LL_GPIO_PIN_9|LL_GPIO_PIN_10|LL_GPIO_PIN_11|LL_GPIO_PIN_12
                          |LL_GPIO_PIN_15;
  GPIO_InitStruct.Mode = LL_GPIO_MODE_ANALOG;
  GPIO_InitStruct.Pull = LL_GPIO_PULL_NO;
  LL_GPIO_Init(GPIOA, &GPIO_InitStruct);

  /**/
  GPIO_InitStruct.Pin = LL_GPIO_PIN_0|LL_GPIO_PIN_1|LL_GPIO_PIN_2|LL_GPIO_PIN_10
                          |LL_GPIO_PIN_15|LL_GPIO_PIN_3|LL_GPIO_PIN_4|LL_GPIO_PIN_7
                          |LL_GPIO_PIN_8;
  GPIO_InitStruct.Mode = LL_GPIO_MODE_ANALOG;
  GPIO_InitStruct.Pull = LL_GPIO_PULL_NO;
  LL_GPIO_Init(GPIOB, &GPIO_InitStruct);

  /**/
  GPIO_InitStruct.Pin = KEY_3_Pin|KEY_2_Pin|KEY_1_Pin;
  GPIO_InitStruct.Mode = LL_GPIO_MODE_INPUT;
  GPIO_InitStruct.Pull = LL_GPIO_PULL_NO;
  LL_GPIO_Init(GPIOB, &GPIO_InitStruct);

  /**/
  GPIO_InitStruct.Pin = LL_GPIO_PIN_2;
  GPIO_InitStruct.Mode = LL_GPIO_MODE_ANALOG;
  GPIO_InitStruct.Pull = LL_GPIO_PULL_NO;
  LL_GPIO_Init(GPIOD, &GPIO_InitStruct);

  /**/
  GPIO_InitStruct.Pin = XDIC_VCC_EN_Pin|XC24_NSCS_Pin;
  GPIO_InitStruct.Mode = LL_GPIO_MODE_OUTPUT;
  GPIO_InitStruct.Speed = LL_GPIO_SPEED_FREQ_VERY_HIGH;
  GPIO_InitStruct.OutputType = LL_GPIO_OUTPUT_PUSHPULL;
  GPIO_InitStruct.Pull = LL_GPIO_PULL_NO;
  LL_GPIO_Init(GPIOB, &GPIO_InitStruct);

  /**/
  GPIO_InitStruct.Pin = XC24_VCC_EN_Pin;
  GPIO_InitStruct.Mode = LL_GPIO_MODE_OUTPUT;
  GPIO_InitStruct.Speed = LL_GPIO_SPEED_FREQ_LOW;
  GPIO_InitStruct.OutputType = LL_GPIO_OUTPUT_PUSHPULL;
  GPIO_InitStruct.Pull = LL_GPIO_PULL_NO;
  LL_GPIO_Init(XC24_VCC_EN_GPIO_Port, &GPIO_InitStruct);

  /* USER CODE BEGIN MX_GPIO_Init_2 */
    LL_GPIO_SetOutputPin(XC24_VCC_EN_GPIO_Port, XC24_VCC_EN_Pin);
  /* USER CODE END MX_GPIO_Init_2 */
}

void Error_Handler(void)
{
  __disable_irq();
  while (1)
  {
  }
}
